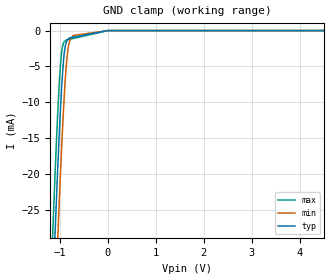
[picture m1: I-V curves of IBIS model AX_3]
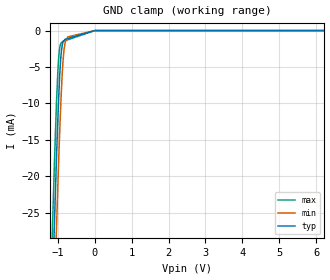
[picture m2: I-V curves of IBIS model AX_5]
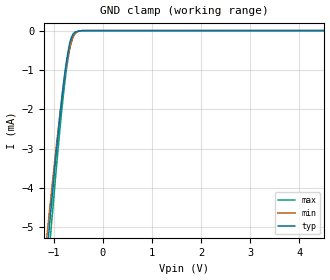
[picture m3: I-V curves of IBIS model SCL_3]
|Texas Instruments Incorporated
|INA219 - Zero-Drift, Bi-Directional CURRENT/POWER MONITOR with I2C Interface
|   and
| Marketing part#   Digital Voltage Range   Package-type   #pins
|INA219AID   3V to 5.5V   SO-8   8
|INA219AIDR   3V to 5.5V   SO-8   8
|INA219AIDCNR   3V to 5.5V   SOT23-8   8
|INA219AIDCNRG4   3V to 5.5V   SOT23-8   8
|INA219AIDCNT   3V to 5.5V   SOT23-8   8
|INA219AIDCNTG4   3V to 5.5V   SOT23-8   8
[IBIS Ver]   4.0
[File name]   ina219.ibs
[File Rev]   1.0
[Date]   03/29/2010
[Source]   Texas Instruments Incorporated.
   Analog-eLab, HPA
   12500 TI Blvd
   Dallas, TX -75243
   For Support e-mail: elab_ibis@list.ti.com
[Notes]   Revision History:
   1.0: 03/29/2010
   - Initial version of the model
   - Initial Model generated from simulations in TISPICED
   - Model names with a trailing _3 contains the model for
   3.3V (3.0V and 3.6V). Model names with trailing _5 contains
   the model for 5V (4.5V and 5.5V) operation.
   - Model not matched to measurements
   - Ignore warnings related to min and max values of ccomp,
   The device process of these products is CMOS. The ccomp
   values are based on PVT variations as seen in simulations
   - C_comp: Ignore warnings related to typical values not being
   in between the minimum and maximum values for SDA_3. The c_comp
   values are  a mathematical average between the buffer's ON
   state and OFF state.
[Disclaimer]
 This product is designed as an aid for customers of Texas Instruments.
 No warranties, either expressed or implied, with respect to this third
 party software (if any) or with respect to its fitness for any
 particular purpose is claimed by Texas Instruments or the author. The
 software (if any) is provided solely on an "as is" basis. The entire
 risk as to its quality and performance is with the customer
[Copyright] (C) Copyright 2009 Texas Instruments Incorporated.
   All rights reserved.
|   INA219 SOT-23 package
[Component]   INA219aidcnr
[Manufacturer] TI
[Package]   | SOT-23
| variable   typ   min   max
R_pkg  0.047313   0.044480   0.05215
L_pkg  2.312291nH 1.845750nH 2.79715nH
C_pkg  0.349558pF 0.247680pF 0.45459pF
[Pin] signal_name  model_name  R_pin  L_pin C_pin
1   VINP   TERM   0.04526  1.84675nH  0.24950pF
2   VINN   TERM   0.05215  2.79715nH  0.45459pF
3   GND   GND   0.05093  2.78136nH  0.45247pF
4   VS   POWER   0.04471  1.84575nH  0.24836pF
5   SCL   SCL   0.04448  1.84605nH  0.24768pF
6   SDA   SDA   0.04661  2.75766nH  0.44515pF
7   A0   AX   0.04988  2.77646nH  0.45082pF
8   A1   AX   0.04448  1.84715nH  0.24789pF
|   INA219 - SO-8 package
[Component]   INA219aid
[Manufacturer] TI
[Package]   | SO-8
| variable   typ   min   max
R_pkg  0.069538   0.063740   0.07590
L_pkg  1.994401nH 1.912480nH 2.07874nH
C_pkg  0.369635pF 0.340420pF 0.39868pF
[Pin] signal_name  model_name  R_pin  L_pin C_pin
1   A1   AX   0.06374  2.04731nH  0.39685pF
2   A0   AX   0.07414  1.91248nH  0.34042pF
3   SDA   SDA   0.07458  1.92205nH  0.34404pF
4   SCL   SCL   0.06376  2.05765nH  0.39466pF
5   VS   POWER   0.06419  2.06615nH  0.39552pF
6   GND   GND   0.07465  1.92265nH  0.34455pF
7   VINN   TERM   0.07590  1.94818nH  0.34236pF
8   VINP   TERM   0.06534  2.07874nH  0.39868pF
|   Model Selectors
[Model Selector]  AX
AX_3   3.3V digital input
AX_5   5V digital input
[Model Selector]  SCL
SCL_3  3.3V digital Input
SCL_5  5V digital Input
[Model Selector]  SDA
SDA_3  3.3V digital I/O_open_drain
SDA_5  5V digital I/O_open_drain
|   TERM Model
[Model] TERM
Model_type Terminator
C_comp   0   0   0
| variable   typ   min   max
[Voltage Range]   3.3V   3.0V   5.5V
[POWER Clamp Reference]  3.3V   3.0V   5.5V
[GND Clamp Reference]   0.0V   0.0V   0.0V
|Operating Temperature
[Temperature Range]   27   85   -25
| Models and submodels in the file (7): TERM (Terminator), AX_3 (Input), AX_5 (Input), SCL_3 (Input), SCL_5 (Input), SDA_3 (I/O_open_drain), SDA_5 (I/O_open_drain)
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|   3.3V AX Input Model
[Model] AX_3
Model_type Input
| Signals  A0, A1
Vinl = 0.99
Vinh = 2.31
|   typ   min   max
C_comp   1.2444380e-12   1.4001300e-12   1.0957130e-12
[Voltage Range]   3.3   3   3.6
[Temperature Range]   27   85   -25
[Power Clamp Reference]   3.3   3   3.6
[GND Clamp Reference]   0   0   0
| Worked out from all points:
|   GND clamp passes 1 mA (typ) near -0.78 V on its own axis
[GND Clamp]
|   Voltage   I(typ)   I(min)   I(max)
-3.3V     -455.1mA   -463.9mA   -448.1mA
-1.149V   -36.69mA   -46.76mA   -28.19mA
-1.095V   -27.51mA   -37.48mA   -19.18mA
-1.042V   -18.78mA   -28.53mA   -11.15mA
-983.8mV  -10.44mA   -19.31mA   -4.403mA
-953.4mV  -6.914mA   -14.9mA    -2.51mA
-914.4mV  -3.484mA   -9.839mA   -1.585mA
-865.9mV  -1.655mA   -4.858mA   -1.325mA
-830.6mV  -1.203mA   -2.592mA   -1.271mA
-718.2mV  -916.2uA   -685.3uA   -1.099mA
2.725mV   0A         0A         0A
6.59V     0A         0A         0A
[POWER Clamp]
|   SCR cell for ESD function. Effects occurr above VDD x 2
|   Voltage   I(typ)   I(min)   I(max)
-3.3V     0A         0A         0A
0V        0A         0A         0A
6.6V      0A         0A         0A
|   5V AX Input Model
[Model] AX_5
Model_type Input
| Signals  A0, A1
Vinl = 1.5
Vinh = 3.5
|   typ   min   max
C_comp   1.1477420e-12   1.2888870e-12   1.0195520e-12
[Voltage Range]   5   4.5   5.5
[Temperature Range]   27   85   -25
[Power Clamp Reference]   5   4.5   5.5
[GND Clamp Reference]   0   0   0
[GND Clamp]
|   Voltage   I(typ)   I(min)   I(max)
-5V       -794mA     -801.9mA   -787.7mA
-1.146V   -36.49mA   -46.58mA   -27.93mA
-1.09V    -26.94mA   -36.88mA   -18.64mA
-1.044V   -19.28mA   -29.01mA   -11.52mA
-1.029V   -17.14mA   -26.73mA   -9.589mA
-973.4mV  -9.348mA   -17.95mA   -3.813mA
-907.1mV  -3.251mA   -9.13mA    -1.707mA
-872.5mV  -1.921mA   -5.596mA   -1.537mA
-825.8mV  -1.355mA   -2.552mA   -1.433mA
-724.3mV  -1.086mA   -861.4uA   -1.257mA
3.811mV   0A         0A         0A
9.985V    0A         0A         0A
[POWER Clamp]
|   SCR cell for ESD function. Effects occurr above VDD x 2
|   Voltage   I(typ)   I(min)   I(max)
-5V       0A         0A         0A
0V        0A         0A         0A
10V       0A         0A         0A
|   3.3V SCL Input Model
[Model] SCL_3
Model_type Input
| Signals  SCL
Vinl = 0.99
Vinh = 2.31
|   typ   min   max
C_comp   1.2013160e-12   1.3304240e-12   1.0611930e-12
[Voltage Range]   3.3   3   3.6
[Temperature Range]   27   85   -25
[Power Clamp Reference]   3.3   3   3.6
[GND Clamp Reference]   0   0   0
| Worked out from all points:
|   GND clamp passes 1 mA (typ) near -0.77 V on its own axis
[GND Clamp]
|   Voltage   I(typ)   I(min)   I(max)
-3.3V     -37.41mA   -33.24mA   -42.71mA
-1.133V   -5.567mA   -5.122mA   -6.189mA
-1.059V   -4.552mA   -4.231mA   -5.087mA
-897.6mV  -2.434mA   -2.357mA   -2.793mA
-825.5mV  -1.585mA   -1.596mA   -1.875mA
-764.9mV  -977.4uA   -1.033mA   -1.196mA
-734.7mV  -708.9uA   -802.8uA   -910.5uA
-670mV    -290.8uA   -406.6uA   -425uA
-617.8mV  -110.2uA   -199.6uA   -180.6uA
-569.7mV  -36.55uA   -84.15uA   -75.01uA
-409.4mV  -995.2nA   -939.3nA   -1.017uA
6.59V     0A         0A         0A
[POWER Clamp]
|   SCR cell for ESD function. Effects occurr above VDD x 2
|   Voltage   I(typ)   I(min)   I(max)
-3.3V     0A         0A         0A
0V        0A         0A         0A
6.6V      0A         0A         0A
